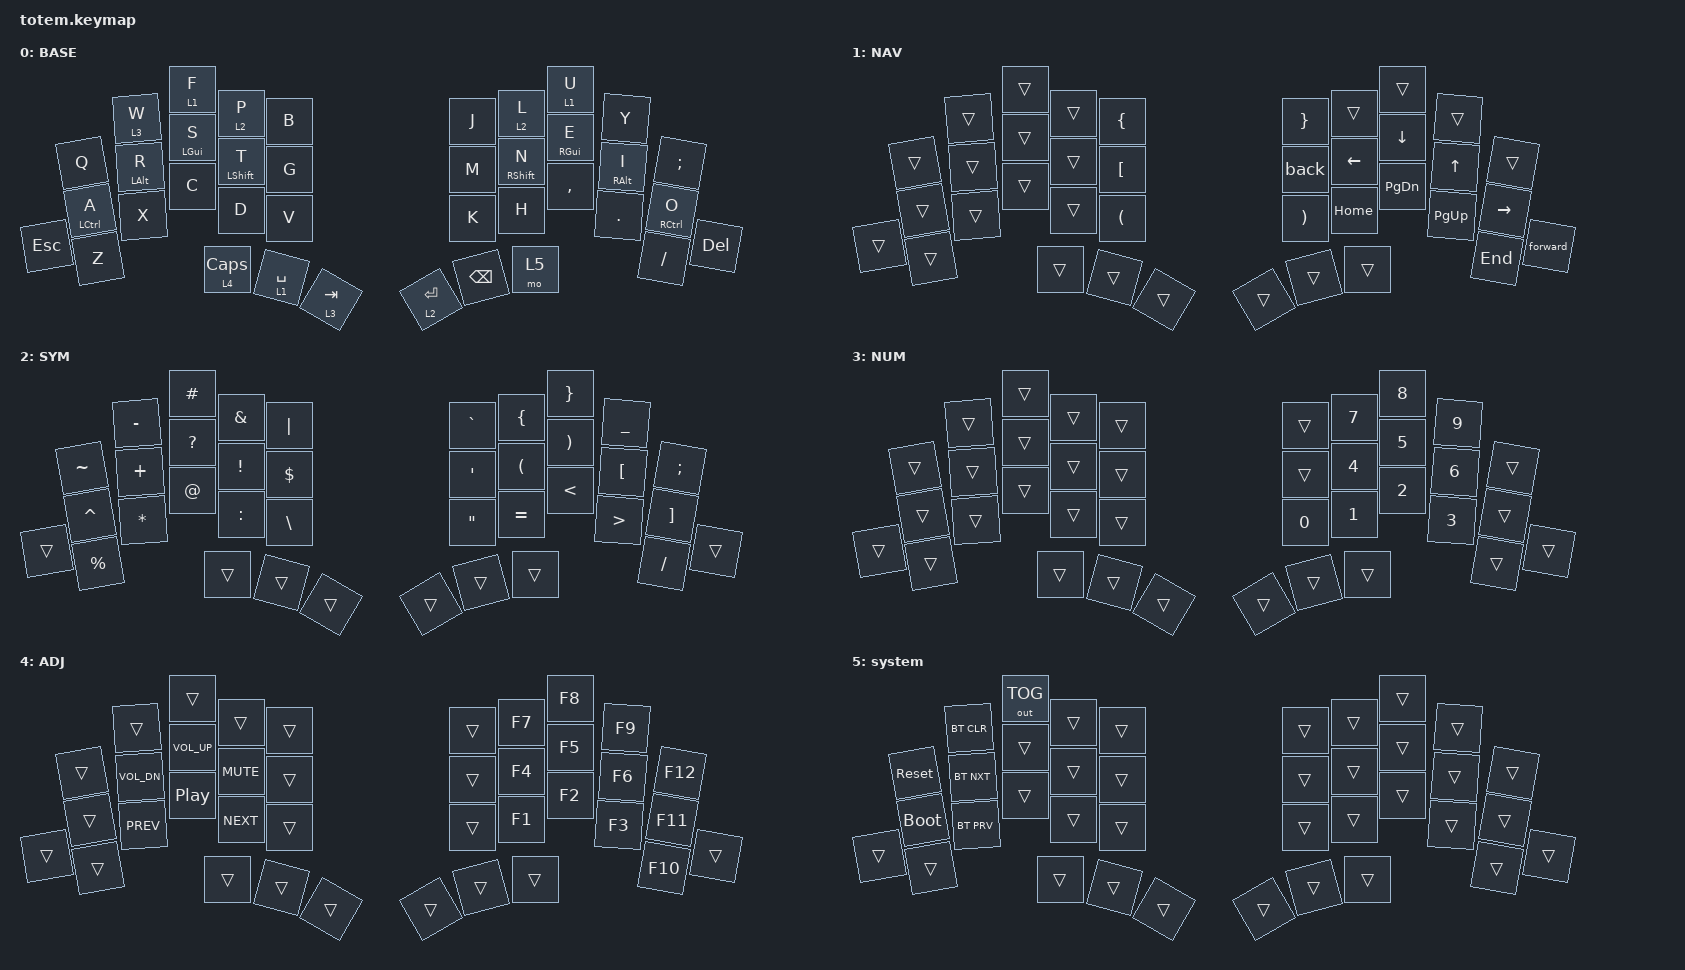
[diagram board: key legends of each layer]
//
//                                                        ▀▀▀▀▀     ▀▀▀▀▀          ▀▀█▀▀
//                                                        ▄▀▀▀▄  ▄  ▄▀▀▀▄  ▄  ▄▀▀▀▄  █  ▄▀▀▀▄
//                                                        █   █  █  █   █  █  █   █  █  █   █
//                                                         ▀▀▀   █   ▀▀▀   █   ▀▀▀   ▀   ▀▀▀
//                                                               █      ▄▄▄█▄▄▄    █   █  
//                                                               ▀      █  █  █     █▄█
//                                                             ▀▀▀▀▀    █  █  █      ▀
//                                                                      ▀  ▀  ▀
//
// ▄▄▄▄▄▄▄▄▄▄▄▄▄▄▄▄▄▄▄▄▄▄▄▄▄▄▄▄▄▄▄▄▄▄▄▄▄▄▄▄▄▄▄▄▄▄▄▄▄▄▄▄▄▄▄▄▄▄▄▄▄▄▄▄▄▄▄▄▄▄▄▄▄▄▄▄▄▄▄▄▄▄▄▄▄▄▄▄▄▄▄▄▄▄▄▄▄▄▄▄▄▄▄▄▄▄▄▄▄▄▄▄▄▄▄▄▄▄▄▄▄▄▄▄▄▄▄▄▄▄▄▄▄▄▄▄▄▄▄▄▄▄▄▄▄▄▄▄▄

#include <behaviors.dtsi>
#include <dt-bindings/zmk/bt.h>
#include <dt-bindings/zmk/keys.h>
#include <dt-bindings/zmk/outputs.h>

#define BASE 0
#define NAV  1
#define SYM  2
#define NUM  3
#define ADJ  4

&mt {
    quick-tap-ms = <100>;
    global-quick-tap;
    flavor = "tap-preferred";
    tapping-term-ms = <170>;
};

/ {
    combos {
        compatible = "zmk,combos";

        c1 {
            bindings = <&kp LBKT>;
            key-positions = <3 2>;
        };

        c2 {
            bindings = <&kp RBKT>;
            key-positions = <6 7>;
        };

        c3 {
            bindings = <&kp LPAR>;
            key-positions = <13 12>;
        };

        c4 {
            bindings = <&kp RPAR>;
            key-positions = <16 17>;
        };

        c5 {
            bindings = <&kp LBRC>;
            key-positions = <24 23>;
        };

        c6 {
            bindings = <&kp RBRC>;
            key-positions = <27 28>;
        };

        c7 {
            bindings = <&kp BSLH>;
            key-positions = <4 5>;
        };

        c8 {
            bindings = <&kp PIPE>;
            key-positions = <14 15>;
        };
    };

    behaviors {
        hm: hm {
            compatible = "zmk,behavior-hold-tap";
            label = "HM";
            bindings = <&none>, <&none>;

            #binding-cells = <2>;
            tapping-term-ms = <200>;
            flavor = "tap-preferred";
        };
    };

    macros {
        back: back {
            compatible = "zmk,behavior-macro";
            #binding-cells = <0>;
            bindings = <&kp LG(LEFT_BRACKET)>;
            label = "BACK";
        };

        forward: forward {
            compatible = "zmk,behavior-macro";
            #binding-cells = <0>;
            bindings = <&kp LG(RIGHT_BRACKET)>;
            label = "FORWARD";
        };
    };

    keymap {
        compatible = "zmk,keymap";

        // ▄▄▄▄▄▄▄▄▄▄▄▄▄▄▄▄▄▄▄▄▄▄▄▄▄▄▄▄▄▄▄▄▄▄▄▄▄▄▄▄▄▄▄▄▄▄▄▄▄▄▄▄▄▄▄▄▄▄▄▄▄▄▄▄▄▄▄▄▄▄▄▄▄▄▄▄▄▄▄▄▄▄▄▄▄▄▄▄▄▄▄▄▄▄▄▄▄▄▄▄▄▄▄▄▄▄▄▄▄▄▄▄▄▄▄▄▄▄▄▄▄▄▄▄▄▄▄▄▄▄▄▄▄▄▄▄▄▄▄▄▄▄▄▄▄▄▄▄▄

        base_layer {
            // ┏━━━━━━━━━━━━━━━━━━━━━━━━━━━━━━━━━━━━━━━┓

            label = "BASE";

            // ┗━━━━━━━━━━━━━━━━━━━━━━━━━━━━━━━━━━━━━━━┛
            //             ┏━━━━━━━━━━━┳━━━━━━━━━━━┳━━━━━━━━━━━┳━━━━━━━━━━━┳━━━━━━━━━━━┓   ┏━━━━━━━━━━━┳━━━━━━━━━━━┳━━━━━━━━━━━┳━━━━━━━━━━━┳━━━━━━━━━━━┓
            //             ┃     Q     ┃  W (lt 3) ┃ F (lt 1)  ┃ P (lt 2)  ┃     B     ┃   ┃     J     ┃ L (lt 2)  ┃ U (lt 1)  ┃     Y     ┃     ;     ┃
            //             ┣━━━━━━━━━━━╋━━━━━━━━━━━╋━━━━━━━━━━━╋━━━━━━━━━━━╋━━━━━━━━━━━┫   ┣━━━━━━━━━━━╋━━━━━━━━━━━╋━━━━━━━━━━━╋━━━━━━━━━━━╋━━━━━━━━━━━┫
            //             ┃ A (LCTRL) ┃  R (LALT) ┃  S (LGUI) ┃ T (LSHFT) ┃     G     ┃   ┃     M     ┃ N (RSHFT) ┃ E (RGUI)  ┃ I (RALT)  ┃ O (RCTRL) ┃
            // ┏━━━━━━━━━━━╋━━━━━━━━━━━╋━━━━━━━━━━━╋━━━━━━━━━━━╋━━━━━━━━━━━╋━━━━━━━━━━━┫   ┣━━━━━━━━━━━╋━━━━━━━━━━━╋━━━━━━━━━━━╋━━━━━━━━━━━╋━━━━━━━━━━━╋━━━━━━━━━━━┓
            // ┃    ESC    ┃     Z     ┃     X     ┃     C     ┃     D     ┃     V     ┃   ┃     K     ┃     H     ┃     ,     ┃     .     ┃     /     ┃    DEL    ┃
            // ┗━━━━━━━━━━━┻━━━━━━━━━━━┻━━━━━━━━━━━╋━━━━━━━━━━━╋━━━━━━━━━━━╋━━━━━━━━━━━┫   ┣━━━━━━━━━━━╋━━━━━━━━━━━╋━━━━━━━━━━━╋━━━━━━━━━━━┻━━━━━━━━━━━┻━━━━━━━━━━━┛
            //                                     ┃   lt 4    ┃ SPC (lt 1)┃ TAB(lt 3) ┃   ┃ENTER(lt 2)┃    BSPC   ┃   RGUI    ┃
            //                                     ┗━━━━━━━━━━━┻━━━━━━━━━━━┻━━━━━━━━━━━┛   ┗━━━━━━━━━━━┻━━━━━━━━━━━┻━━━━━━━━━━━┛

            bindings = <
         &kp Q        &lt 3 W     &lt 1 F         &lt 2 P      &kp B        &kp J        &lt 2 L      &lt 1 U     &kp Y       &kp SEMICOLON
         &mt LCTRL A  &mt LALT R  &mt LGUI S      &mt LSHFT T  &kp G        &kp M        &mt RSHFT N  &mt RGUI E  &mt RALT I  &mt RCTRL O
&kp ESC  &kp Z        &kp X       &kp C           &kp D        &kp V        &kp K        &kp H        &kp COMMA   &kp DOT     &kp FSLH       &kp DEL
                                  &lt 4 CAPSLOCK  &lt 1 SPACE  &lt 3 TAB    &lt 2 ENTER  &kp BSPC     &mo 5
            >;
        };

        // ▄▄▄▄▄▄▄▄▄▄▄▄▄▄▄▄▄▄▄▄▄▄▄▄▄▄▄▄▄▄▄▄▄▄▄▄▄▄▄▄▄▄▄▄▄▄▄▄▄▄▄▄▄▄▄▄▄▄▄▄▄▄▄▄▄▄▄▄▄▄▄▄▄▄▄▄▄▄▄▄▄▄▄▄▄▄▄▄▄▄▄▄▄▄▄▄▄▄▄▄▄▄▄▄▄▄▄▄▄▄▄▄▄▄▄▄▄▄▄▄▄▄▄▄▄▄▄▄▄▄▄▄▄▄▄▄▄▄▄▄▄▄▄▄▄▄▄▄▄

        nav_layer {
            // ┏━━━━━━━━━━━━━━━━━━━━━━━━━━━━━━━━━━━━━━━┓

            label = "NAV";

            // ┗━━━━━━━━━━━━━━━━━━━━━━━━━━━━━━━━━━━━━━━┛
            //             ┏━━━━━━━━━━━┳━━━━━━━━━━━┳━━━━━━━━━━━┳━━━━━━━━━━━┳━━━━━━━━━━━┓   ┏━━━━━━━━━━━┳━━━━━━━━━━━┳━━━━━━━━━━━┳━━━━━━━━━━━┳━━━━━━━━━━━┓
            //             ┃           ┃           ┃           ┃           ┃           ┃   ┃           ┃           ┃           ┃           ┃           ┃
            //             ┣━━━━━━━━━━━╋━━━━━━━━━━━╋━━━━━━━━━━━╋━━━━━━━━━━━╋━━━━━━━━━━━┫   ┣━━━━━━━━━━━╋━━━━━━━━━━━╋━━━━━━━━━━━╋━━━━━━━━━━━╋━━━━━━━━━━━┫
            //             ┃           ┃           ┃           ┃           ┃           ┃   ┃           ┃    LEFT   ┃    DOWN   ┃     UP    ┃   RIGHT   ┃
            // ┏━━━━━━━━━━━╋━━━━━━━━━━━╋━━━━━━━━━━━╋━━━━━━━━━━━╋━━━━━━━━━━━╋━━━━━━━━━━━┫   ┣━━━━━━━━━━━╋━━━━━━━━━━━╋━━━━━━━━━━━╋━━━━━━━━━━━╋━━━━━━━━━━━╋━━━━━━━━━━━┓
            // ┃           ┃           ┃           ┃           ┃           ┃           ┃   ┃           ┃    HOME   ┃ PAGE_DOWN ┃  PAGE_UP  ┃   END     ┃           ┃
            // ┗━━━━━━━━━━━┻━━━━━━━━━━━┻━━━━━━━━━━━╋━━━━━━━━━━━╋━━━━━━━━━━━╋━━━━━━━━━━━┫   ┣━━━━━━━━━━━╋━━━━━━━━━━━╋━━━━━━━━━━━╋━━━━━━━━━━━┻━━━━━━━━━━━┻━━━━━━━━━━━┛
            //                                     ┃           ┃           ┃           ┃   ┃           ┃           ┃           ┃
            //                                     ┗━━━━━━━━━━━┻━━━━━━━━━━━┻━━━━━━━━━━━┛   ┗━━━━━━━━━━━┻━━━━━━━━━━━┻━━━━━━━━━━━┛

            bindings = <
        &trans  &trans  &trans  &trans  &kp LBRC    &kp RBRC  &trans    &trans     &trans     &trans
        &trans  &trans  &trans  &trans  &kp LBKT    &back     &kp LEFT  &kp DOWN   &kp UP     &kp RIGHT
&trans  &trans  &trans  &trans  &trans  &kp LPAR    &kp RPAR  &kp HOME  &kp PG_DN  &kp PG_UP  &kp END    &forward
                        &trans  &trans  &trans      &trans    &trans    &trans
            >;
        };

        // ▄▄▄▄▄▄▄▄▄▄▄▄▄▄▄▄▄▄▄▄▄▄▄▄▄▄▄▄▄▄▄▄▄▄▄▄▄▄▄▄▄▄▄▄▄▄▄▄▄▄▄▄▄▄▄▄▄▄▄▄▄▄▄▄▄▄▄▄▄▄▄▄▄▄▄▄▄▄▄▄▄▄▄▄▄▄▄▄▄▄▄▄▄▄▄▄▄▄▄▄▄▄▄▄▄▄▄▄▄▄▄▄▄▄▄▄▄▄▄▄▄▄▄▄▄▄▄▄▄▄▄▄▄▄▄▄▄▄▄▄▄▄▄▄▄▄▄▄▄

        sim_layer {
            // ┏━━━━━━━━━━━━━━━━━━━━━━━━━━━━━━━━━━━━━━━┓

            label = "SYM";

            // ┗━━━━━━━━━━━━━━━━━━━━━━━━━━━━━━━━━━━━━━━┛
            //             ┏━━━━━━━━━━━┳━━━━━━━━━━━┳━━━━━━━━━━━┳━━━━━━━━━━━┳━━━━━━━━━━━┓   ┏━━━━━━━━━━━┳━━━━━━━━━━━┳━━━━━━━━━━━┳━━━━━━━━━━━┳━━━━━━━━━━━┓
            //             ┃     ~     ┃     -     ┃     #     ┃     &     ┃     |     ┃   ┃     `     ┃     {     ┃     }     ┃     _     ┃     ;     ┃
            //             ┣━━━━━━━━━━━╋━━━━━━━━━━━╋━━━━━━━━━━━╋━━━━━━━━━━━╋━━━━━━━━━━━┫   ┣━━━━━━━━━━━╋━━━━━━━━━━━╋━━━━━━━━━━━╋━━━━━━━━━━━╋━━━━━━━━━━━┫
            //             ┃     ^     ┃     +     ┃     ?     ┃     !     ┃     $     ┃   ┃     '     ┃     (     ┃     )     ┃     [     ┃     ]     ┃
            // ┏━━━━━━━━━━━╋━━━━━━━━━━━╋━━━━━━━━━━━╋━━━━━━━━━━━╋━━━━━━━━━━━╋━━━━━━━━━━━┫   ┣━━━━━━━━━━━╋━━━━━━━━━━━╋━━━━━━━━━━━╋━━━━━━━━━━━╋━━━━━━━━━━━╋━━━━━━━━━━━┓
            // ┃           ┃     %     ┃     *     ┃     @     ┃     :     ┃     \     ┃   ┃     "     ┃     =     ┃     <     ┃     >     ┃     /     ┃           ┃
            // ┗━━━━━━━━━━━┻━━━━━━━━━━━┻━━━━━━━━━━━╋━━━━━━━━━━━╋━━━━━━━━━━━╋━━━━━━━━━━━┫   ┣━━━━━━━━━━━╋━━━━━━━━━━━╋━━━━━━━━━━━╋━━━━━━━━━━━┻━━━━━━━━━━━┻━━━━━━━━━━━┛
            //                                     ┃           ┃           ┃           ┃   ┃           ┃           ┃           ┃
            //                                     ┗━━━━━━━━━━━┻━━━━━━━━━━━┻━━━━━━━━━━━┛   ┗━━━━━━━━━━━┻━━━━━━━━━━━┻━━━━━━━━━━━┛

            bindings = <
        &kp TILDE    &kp MINUS     &kp HASH      &kp AMPERSAND    &kp PIPE      &kp GRAVE  &kp LBRC   &kp RBRC       &kp UNDERSCORE    &kp SEMICOLON
        &kp CARET    &kp PLUS      &kp QUESTION  &kp EXCLAMATION  &kp DOLLAR    &kp SQT    &kp LPAR   &kp RPAR       &kp LBKT          &kp RBKT
&trans  &kp PERCENT  &kp ASTERISK  &kp AT_SIGN   &kp COLON        &kp BSLH      &kp DQT    &kp EQUAL  &kp LESS_THAN  &kp GREATER_THAN  &kp FSLH       &trans
                                   &trans        &trans           &trans        &trans     &trans     &trans
            >;
        };

        // ▄▄▄▄▄▄▄▄▄▄▄▄▄▄▄▄▄▄▄▄▄▄▄▄▄▄▄▄▄▄▄▄▄▄▄▄▄▄▄▄▄▄▄▄▄▄▄▄▄▄▄▄▄▄▄▄▄▄▄▄▄▄▄▄▄▄▄▄▄▄▄▄▄▄▄▄▄▄▄▄▄▄▄▄▄▄▄▄▄▄▄▄▄▄▄▄▄▄▄▄▄▄▄▄▄▄▄▄▄▄▄▄▄▄▄▄▄▄▄▄▄▄▄▄▄▄▄▄▄▄▄▄▄▄▄▄▄▄▄▄▄▄▄▄▄▄▄▄▄

        num_layer {
            // ┏━━━━━━━━━━━━━━━━━━━━━━━━━━━━━━━━━━━━━━━┓

            label = "NUM";

            // ┗━━━━━━━━━━━━━━━━━━━━━━━━━━━━━━━━━━━━━━━┛
            //             ┏━━━━━━━━━━━┳━━━━━━━━━━━┳━━━━━━━━━━━┳━━━━━━━━━━━┳━━━━━━━━━━━┓   ┏━━━━━━━━━━━┳━━━━━━━━━━━┳━━━━━━━━━━━┳━━━━━━━━━━━┳━━━━━━━━━━━┓
            //             ┃           ┃           ┃           ┃           ┃           ┃   ┃           ┃     7     ┃     8     ┃     9     ┃           ┃
            //             ┣━━━━━━━━━━━╋━━━━━━━━━━━╋━━━━━━━━━━━╋━━━━━━━━━━━╋━━━━━━━━━━━┫   ┣━━━━━━━━━━━╋━━━━━━━━━━━╋━━━━━━━━━━━╋━━━━━━━━━━━╋━━━━━━━━━━━┫
            //             ┃           ┃           ┃           ┃           ┃           ┃   ┃           ┃     4     ┃     5     ┃     6     ┃           ┃
            // ┏━━━━━━━━━━━╋━━━━━━━━━━━╋━━━━━━━━━━━╋━━━━━━━━━━━╋━━━━━━━━━━━╋━━━━━━━━━━━┫   ┣━━━━━━━━━━━╋━━━━━━━━━━━╋━━━━━━━━━━━╋━━━━━━━━━━━╋━━━━━━━━━━━╋━━━━━━━━━━━┓
            // ┃           ┃           ┃           ┃           ┃           ┃           ┃   ┃     0     ┃     1     ┃     2     ┃     3     ┃           ┃           ┃
            // ┗━━━━━━━━━━━┻━━━━━━━━━━━┻━━━━━━━━━━━╋━━━━━━━━━━━╋━━━━━━━━━━━╋━━━━━━━━━━━┫   ┣━━━━━━━━━━━╋━━━━━━━━━━━╋━━━━━━━━━━━╋━━━━━━━━━━━┻━━━━━━━━━━━┻━━━━━━━━━━━┛
            //                                     ┃           ┃           ┃           ┃   ┃           ┃           ┃           ┃
            //                                     ┗━━━━━━━━━━━┻━━━━━━━━━━━┻━━━━━━━━━━━┛   ┗━━━━━━━━━━━┻━━━━━━━━━━━┻━━━━━━━━━━━┛

            bindings = <
        &trans  &trans  &trans  &trans  &trans    &trans  &kp N7        &kp N8        &kp N9        &trans
        &trans  &trans  &trans  &trans  &trans    &trans  &kp NUMBER_4  &kp N5        &kp NUMBER_6  &trans
&trans  &trans  &trans  &trans  &trans  &trans    &kp N0  &kp NUMBER_1  &kp NUMBER_2  &kp NUMBER_3  &trans  &trans
                        &trans  &trans  &trans    &trans  &trans        &trans
            >;
        };

        // ▄▄▄▄▄▄▄▄▄▄▄▄▄▄▄▄▄▄▄▄▄▄▄▄▄▄▄▄▄▄▄▄▄▄▄▄▄▄▄▄▄▄▄▄▄▄▄▄▄▄▄▄▄▄▄▄▄▄▄▄▄▄▄▄▄▄▄▄▄▄▄▄▄▄▄▄▄▄▄▄▄▄▄▄▄▄▄▄▄▄▄▄▄▄▄▄▄▄▄▄▄▄▄▄▄▄▄▄▄▄▄▄▄▄▄▄▄▄▄▄▄▄▄▄▄▄▄▄▄▄▄▄▄▄▄▄▄▄▄▄▄▄▄▄▄▄▄▄▄

        fun {
            // ┏━━━━━━━━━━━━━━━━━━━━━━━━━━━━━━━━━━━━━━━┓

            label = "ADJ";

            // ┗━━━━━━━━━━━━━━━━━━━━━━━━━━━━━━━━━━━━━━━┛
            //             ┏━━━━━━━━━━━┳━━━━━━━━━━━┳━━━━━━━━━━━┳━━━━━━━━━━━┳━━━━━━━━━━━┓   ┏━━━━━━━━━━━┳━━━━━━━━━━━┳━━━━━━━━━━━┳━━━━━━━━━━━┳━━━━━━━━━━━┓
            //             ┃   RESET   ┃ BT CLEAR  ┃  OUT TOG  ┃           ┃           ┃   ┃           ┃    F7     ┃    F8     ┃    F9     ┃    F12    ┃
            //             ┣━━━━━━━━━━━╋━━━━━━━━━━━╋━━━━━━━━━━━╋━━━━━━━━━━━╋━━━━━━━━━━━┫   ┣━━━━━━━━━━━╋━━━━━━━━━━━╋━━━━━━━━━━━╋━━━━━━━━━━━╋━━━━━━━━━━━┫
            //             ┃ BOOTLOAD  ┃ BT NEXT   ┃ VOL_DOWN  ┃ VOL_DOWN  ┃  MUTE     ┃   ┃           ┃    F4     ┃    F5     ┃    F6     ┃    F11    ┃
            // ┏━━━━━━━━━━━╋━━━━━━━━━━━╋━━━━━━━━━━━╋━━━━━━━━━━━╋━━━━━━━━━━━╋━━━━━━━━━━━┫   ┣━━━━━━━━━━━╋━━━━━━━━━━━╋━━━━━━━━━━━╋━━━━━━━━━━━╋━━━━━━━━━━━╋━━━━━━━━━━━┓
            // ┃           ┃           ┃ BT PREV   ┃ PREV_TRACK┃ PLAY_PAUSE┃ NEXT_TRACK┃   ┃           ┃    F1     ┃    F2     ┃    F3     ┃    F10    ┃           ┃
            // ┗━━━━━━━━━━━┻━━━━━━━━━━━┻━━━━━━━━━━━╋━━━━━━━━━━━╋━━━━━━━━━━━╋━━━━━━━━━━━┫   ┣━━━━━━━━━━━╋━━━━━━━━━━━╋━━━━━━━━━━━╋━━━━━━━━━━━┻━━━━━━━━━━━┻━━━━━━━━━━━┛
            //                                     ┃           ┃           ┃           ┃   ┃           ┃           ┃           ┃
            //                                     ┗━━━━━━━━━━━┻━━━━━━━━━━━┻━━━━━━━━━━━┛   ┗━━━━━━━━━━━┻━━━━━━━━━━━┻━━━━━━━━━━━┛

            bindings = <
        &trans  &trans        &trans        &trans      &trans    &trans  &kp F7  &kp F8  &kp F9  &kp F12
        &trans  &kp C_VOL_DN  &kp C_VOL_UP  &kp C_MUTE  &trans    &trans  &kp F4  &kp F5  &kp F6  &kp F11
&trans  &trans  &kp C_PREV    &kp C_PP      &kp C_NEXT  &trans    &trans  &kp F1  &kp F2  &kp F3  &kp F10  &trans
                              &trans        &trans      &trans    &trans  &trans  &trans
            >;
        };

        system {
            bindings = <
        &sys_reset   &bt BT_CLR  &out OUT_TOG  &trans  &trans    &trans  &trans  &trans  &trans  &trans
        &bootloader  &bt BT_NXT  &trans        &trans  &trans    &trans  &trans  &trans  &trans  &trans
&trans  &trans       &bt BT_PRV  &trans        &trans  &trans    &trans  &trans  &trans  &trans  &trans  &trans
                                 &trans        &trans  &trans    &trans  &trans  &trans
            >;
        };

        // ▄▄▄▄▄▄▄▄▄▄▄▄▄▄▄▄▄▄▄▄▄▄▄▄▄▄▄▄▄▄▄▄▄▄▄▄▄▄▄▄▄▄▄▄▄▄▄▄▄▄▄▄▄▄▄▄▄▄▄▄▄▄▄▄▄▄▄▄▄▄▄▄▄▄▄▄▄▄▄▄▄▄▄▄▄▄▄▄▄▄▄▄▄▄▄▄▄▄▄▄▄▄▄▄▄▄▄▄▄▄▄▄▄▄▄▄▄▄▄▄▄▄▄▄▄▄▄▄▄▄▄▄▄▄▄▄▄▄▄▄▄▄▄▄▄▄▄▄▄
        // ▄▄▄▄▄▄▄▄▄▄▄▄▄▄▄▄▄▄▄▄▄▄▄▄▄▄▄▄▄▄▄▄▄▄▄▄▄▄▄▄▄▄▄▄▄▄▄▄▄▄▄▄▄▄▄▄▄▄▄▄▄▄▄▄▄▄▄▄▄▄▄▄▄▄▄▄▄▄▄▄▄▄▄▄▄▄▄▄▄▄▄▄▄▄▄▄▄▄▄▄▄▄▄▄▄▄▄▄▄▄▄▄▄▄▄▄▄▄▄▄▄▄▄▄▄▄▄▄▄▄▄▄▄▄▄▄▄▄▄▄▄▄▄▄▄▄▄▄▄
    };
};
